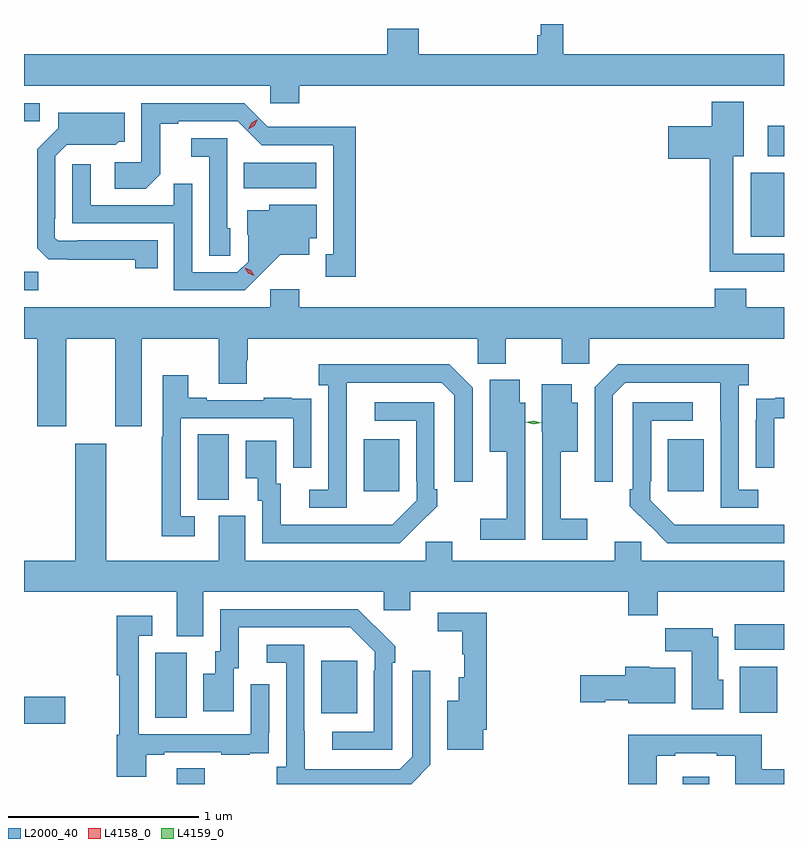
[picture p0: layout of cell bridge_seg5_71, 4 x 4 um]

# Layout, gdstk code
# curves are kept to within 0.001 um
import gdstk
lib = gdstk.Library(unit=1e-6, precision=1e-09)
def R(c, l, rs):  # rectangles x0, y0, x1, y1
    for r in rs: c.add(gdstk.rectangle(r[:2], r[2:], *l))
def P(c, l, *ps):  # polygons
    for p in ps: c.add(gdstk.Polygon(p, *l))
L2000_40 = (2000, 40)
L4158_0 = (4158, 0)
L4159_0 = (4159, 0)

bridge_seg5_71 = lib.new_cell('bridge_seg5_71')
R(bridge_seg5_71, L2000_40, [(304.625,866.404,304.773,866.486), (307.289,866.404,307.429,866.443), (303.822,866.722,304.039,866.864), (304.514,866.752,304.678,867.096), (305.387,866.777,305.575,867.052), (307.589,866.78,307.786,867.022), (307.562,867.11,307.822,867.244), (304.736,867.901,304.9,868.244), (305.609,867.945,305.797,868.219), (307.211,867.945,307.399,868.219), (303.822,869.004,303.897,869.099), (307.646,869.285,307.822,869.62), (304.978,869.54,305.359,869.674), (307.737,869.709,307.822,869.869), (303.822,869.892,303.904,869.988)])
P(bridge_seg5_71, L2000_40, [(305.27,870.08),(307.822,870.08),(307.822,870.244),(306.659,870.244),(306.659,870.404),(306.543,870.404),(306.543,870.345),(306.523,870.345),(306.523,870.244),(305.9,870.244),(305.9,870.38),(305.735,870.38),(305.735,870.244),(303.822,870.244),(303.822,870.08),(305.118,870.08),(305.118,869.987),(305.27,869.987)],
  [(307.822,869.196),(307.555,869.196),(307.555,869.708),(307.609,869.708),(307.609,869.995),(307.442,869.995),(307.442,869.866),(307.212,869.866),(307.212,869.696),(307.43,869.696),(307.43,869.099),(307.822,869.099)],
  [(305.569,869.864),(305.328,869.864),(305.328,869.862),(305.106,869.862),(304.98,869.988),(304.44,869.988),(304.44,869.676),(304.299,869.676),(304.299,869.536),(304.463,869.536),(304.539,869.612),(304.539,869.88),(304.633,869.88),(304.633,869.892),(304.947,869.892),(305.073,869.766),(305.45,869.766),(305.45,869.193),(305.411,869.193),(305.411,869.073),(305.569,869.073)],
  [(304.526,869.265),(304.102,869.265),(304.102,869.262),(304.002,869.262),(303.984,869.28),(303.984,869.38),(303.987,869.38),(303.987,869.709),(304.047,869.769),(304.304,869.768),(304.32,869.784),(304.351,869.784),(304.351,869.938),(304.001,869.938),(304.001,869.856),(303.891,869.746),(303.891,869.224),(303.95,869.165),(304.408,869.164),(304.408,869.118),(304.526,869.118)],
  [(304.908,869.328),(304.893,869.328),(304.893,869.802),(304.701,869.802),(304.701,869.705),(304.797,869.705),(304.797,869.185),(304.908,869.185)],
  [(305.068,869.087),(305.171,869.189),(305.323,869.189),(305.323,869.276),(305.362,869.276),(305.362,869.452),(305.112,869.452),(305.112,869.425),(304.997,869.425),(304.997,869.296),(305.001,869.296),(305.001,869.154),(304.944,869.097),(304.707,869.097),(304.707,869.564),(304.609,869.564),(304.609,869.451),(304.173,869.451),(304.173,869.665),(304.077,869.665),(304.077,869.355),(304.611,869.355),(304.611,869.004),(304.984,869.004)],
  [(304.045,868.748),(304.301,868.748),(304.301,868.287),(304.441,868.287),(304.441,868.748),(304.847,868.748),(304.847,868.51),(304.995,868.51),(304.995,868.635),(305,868.635),(305,868.748),(306.21,868.748),(306.21,868.617),(306.357,868.617),(306.357,868.748),(306.652,868.748),(306.652,868.617),(306.798,868.617),(306.798,868.748),(307.822,868.748),(307.822,868.912),(307.622,868.912),(307.622,869.011),(307.457,869.011),(307.457,868.912),(305.27,868.912),(305.27,869.008),(305.118,869.008),(305.118,868.912),(303.822,868.912),(303.822,868.748),(303.893,868.748),(303.893,868.287),(304.045,868.287)],
  [(305.52,868.315),(305.521,868.515),(306.021,868.515),(306.087,868.449),(306.087,867.996),(306.183,867.996),(306.183,868.489),(306.06,868.612),(305.373,868.612),(305.373,868.502),(305.424,868.502),(305.424,867.954),(305.322,867.954),(305.322,867.858),(305.52,867.858)],
  [(307.687,867.954),(307.584,867.954),(307.584,868.502),(307.636,868.502),(307.636,868.612),(306.946,868.612),(306.825,868.491),(306.825,867.996),(306.921,867.996),(306.921,868.449),(306.987,868.515),(307.487,868.515),(307.488,867.858),(307.687,867.858)],
  [(304.72,867.813),(304.647,867.813),(304.647,868.329),(305.238,868.329),(305.238,868.068),(305.334,868.068),(305.334,868.322),(305.333,868.322),(305.333,868.431),(305.231,868.431),(305.231,868.438),(305.083,868.438),(305.083,868.425),(304.783,868.425),(304.783,868.438),(304.687,868.438),(304.687,868.555),(304.551,868.555),(304.551,868.232),(304.546,868.232),(304.546,867.708),(304.72,867.708)],
  [(306.459,868.411),(306.43,868.411),(306.43,868.531),(306.272,868.531),(306.272,868.154),(306.362,868.154),(306.362,867.799),(306.222,867.799),(306.222,867.69),(306.459,867.69)],
  [(306.787,867.799),(306.647,867.799),(306.647,868.154),(306.736,868.154),(306.736,868.411),(306.706,868.411),(306.706,868.507),(306.548,868.507),(306.548,868.258),(306.549,868.258),(306.549,867.69),(306.787,867.69)],
  [(307.77,868.329),(307.822,868.329),(307.822,868.438),(307.777,868.438),(307.777,868.431),(307.675,868.431),(307.675,868.322),(307.674,868.322),(307.674,868.068),(307.77,868.068)],
  [(305.891,867.763),(305.892,867.762),(305.997,867.867),(305.997,867.955),(305.982,867.955),(305.982,868.413),(305.667,868.413),(305.667,868.317),(305.886,868.317),(305.886,867.997),(305.889,867.997),(305.889,867.897),(305.761,867.769),(305.173,867.768),(305.173,867.984),(305.149,867.984),(305.149,868.21),(304.988,868.21),(304.988,868.013),(305.051,868.013),(305.051,867.894),(305.076,867.894),(305.076,867.672),(305.8,867.672)],
  [(307.822,867.768),(307.248,867.769),(307.119,867.897),(307.119,867.997),(307.122,867.997),(307.122,868.317),(307.342,868.317),(307.342,868.413),(307.026,868.413),(307.026,867.955),(307.011,867.955),(307.011,867.867),(307.208,867.672),(307.822,867.672)],
  [(304.765,867.416),(305.715,867.416),(305.715,867.318),(305.854,867.318),(305.854,867.416),(307.001,867.416),(307.001,867.292),(307.157,867.292),(307.157,867.416),(307.822,867.416),(307.822,867.58),(307.071,867.58),(307.071,867.678),(306.932,867.678),(306.932,867.58),(306.076,867.58),(306.076,867.678),(305.937,867.678),(305.937,867.58),(304.987,867.58),(304.987,867.816),(304.847,867.816),(304.847,867.58),(304.255,867.58),(304.255,868.195),(304.091,868.195),(304.091,867.58),(303.822,867.58),(303.822,867.416),(304.625,867.416),(304.625,867.181),(304.765,867.181)],
  [(305.76,867.041),(305.775,867.041),(305.775,867.129),(305.578,867.324),(304.854,867.324),(304.854,867.102),(304.829,867.102),(304.829,866.983),(304.766,866.983),(304.766,866.787),(304.927,866.787),(304.927,867.012),(304.951,867.012),(304.951,867.228),(305.539,867.228),(305.667,867.099),(305.667,866.999),(305.664,866.999),(305.664,866.679),(305.445,866.679),(305.445,866.583),(305.76,866.583)],
  [(306.238,866.689),(306.257,866.689),(306.257,867.306),(306,867.306),(306,867.208),(306.129,867.208),(306.129,867.087),(306.14,867.087),(306.14,866.965),(306.11,866.965),(306.11,866.842),(306.05,866.842),(306.05,866.585),(306.238,866.585)],
  [(304.465,866.559),(304.561,866.559),(304.561,866.571),(304.861,866.571),(304.861,866.559),(305.009,866.559),(305.009,866.565),(305.111,866.565),(305.111,866.674),(305.112,866.674),(305.112,866.929),(305.016,866.929),(305.016,866.667),(304.425,866.667),(304.425,867.183),(304.498,867.183),(304.498,867.289),(304.309,867.289),(304.309,866.976),(304.324,866.976),(304.324,866.664),(304.309,866.664),(304.309,866.442),(304.465,866.442)],
  [(307.501,866.952),(307.477,866.952),(307.477,867.178),(307.447,867.178),(307.447,867.223),(307.198,867.223),(307.198,867.104),(307.337,867.104),(307.337,866.798),(307.501,866.798)],
  [(305.961,866.505),(305.961,867.001),(305.865,867.001),(305.865,866.547),(305.799,866.481),(305.299,866.481),(305.298,867.138),(305.1,867.138),(305.1,867.042),(305.202,867.042),(305.202,866.494),(305.151,866.494),(305.151,866.404),(305.86,866.404)],
  [(307.249,867.016),(307.116,867.016),(307.116,867.022),(306.986,867.022),(306.986,866.976),(306.75,866.976),(306.75,866.834),(306.882,866.834),(306.882,866.846),(307.002,866.846),(307.002,866.828),(307.249,866.828)],
  [(307.153,866.553),(307.249,866.553),(307.249,866.565),(307.469,866.565),(307.469,866.553),(307.565,866.553),(307.565,866.404),(307.822,866.404),(307.822,866.481),(307.705,866.481),(307.705,866.662),(307.001,866.662),(307.001,866.404),(307.153,866.404)])
P(bridge_seg5_71, L4158_0, [(305.002,869.85),(305.002,869.85),(305.02,869.883),(305.051,869.902),(305.052,869.902),(305.052,869.902),(305.034,869.869),(305.003,869.85)],
  [(305.034,869.078),(305.003,869.092),(304.985,869.122),(304.985,869.122),(304.985,869.122),(305.016,869.107),(305.034,869.078),(305.034,869.078)])
P(bridge_seg5_71, L4159_0, [(306.504,868.297),(306.463,868.307),(306.463,868.307),(306.463,868.307),(306.504,868.316),(306.544,868.306),(306.544,868.306),(306.544,868.306)])

lib.write_gds('bridge_seg5_71.gds')
